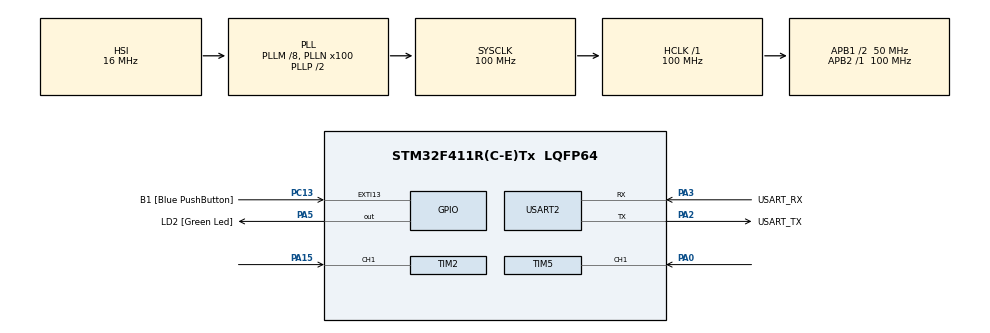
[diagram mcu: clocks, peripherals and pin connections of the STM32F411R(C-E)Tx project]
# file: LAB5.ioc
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Mcu.Family=STM32F4
Dma.TIM2_CH1.0.MemInc=DMA_MINC_ENABLE
VP_TIM5_VS_ClockSourceINT.Mode=Internal
RCC.CortexFreq_Value=100000000
TIM2.Channel-Input_Capture1_from_TI1=TIM_CHANNEL_1
PA14.GPIO_Label=TCK
Dma.TIM2_CH1.0.Instance=DMA1_Stream5
RCC.SYSCLKSource=RCC_SYSCLKSOURCE_PLLCLK
ProjectManager.StackSize=0x400
PH0\ -\ OSC_IN.Signal=RCC_OSC_IN
NVIC.TIM5_IRQn=true\:0\:0\:false\:false\:true\:true\:true
RCC.RCC_RTC_Clock_Source=RCC_RTCCLKSOURCE_LSI
RCC.HCLKFreq_Value=100000000
RCC.APB2TimFreq_Value=100000000
RCC.AHBFreq_Value=100000000
RCC.HSE_VALUE=8000000
PC13-ANTI_TAMP.Signal=GPXTI13
PC14-OSC32_IN.Mode=LSE-External-Oscillator
PA14.Mode=Serial_Wire
NVIC.TIM2_IRQn=true\:0\:0\:false\:false\:true\:true\:true
TIM5.Channel-Input_Capture1_from_TI1=TIM_CHANNEL_1
RCC.FLatency-AdvancedSettings=FLASH_LATENCY_3
Mcu.Package=LQFP64
TIM2.Prescaler=99
Dma.TIM2_CH1.0.FIFOMode=DMA_FIFOMODE_DISABLE
USART2.VirtualMode=VM_ASYNC
PA2.GPIO_Label=USART_TX
PA15.Signal=S_TIM2_CH1_ETR
Dma.TIM2_CH1.0.PeriphDataAlignment=DMA_PDATAALIGN_WORD
RCC.APB1TimFreq_Value=100000000
SH.S_TIM5_CH1.0=TIM5_CH1,Input_Capture1_from_TI1
Dma.Request0=TIM2_CH1
Dma.TIM2_CH1.0.Direction=DMA_PERIPH_TO_MEMORY
PA3.Signal=USART2_RX
PB3.GPIO_Label=SWO
PC15-OSC32_OUT.Mode=LSE-External-Oscillator
PC13-ANTI_TAMP.GPIO_Label=B1 [Blue PushButton]
PH1\ -\ OSC_OUT.Mode=HSE-External-Clock-Source
RCC.APB1CLKDivider=RCC_HCLK_DIV2
PC14-OSC32_IN.Signal=RCC_OSC32_IN
PA0-WKUP.Signal=S_TIM5_CH1
PA13.Signal=SYS_JTMS-SWDIO
PA3.Mode=Asynchronous
PH0\ -\ OSC_IN.Mode=HSE-External-Clock-Source
ProjectManager.TargetToolchain=STM32CubeIDE
NVIC.DMA1_Stream5_IRQn=true\:0\:0\:false\:false\:true\:false\:true
TIM2.ICFilter_CH1=4
PC15-OSC32_OUT.Signal=RCC_OSC32_OUT
PA5.Signal=GPIO_Output
PH1\ -\ OSC_OUT.Signal=RCC_OSC_OUT
board=NUCLEO-F411RE
RCC.VCOOutputFreq_Value=200000000
RCC.APB2Freq_Value=100000000
Dma.TIM2_CH1.0.Priority=DMA_PRIORITY_LOW
VP_TIM2_VS_ClockSourceINT.Mode=Internal
RCC.RCC_RTC_Clock_SourceVirtual=RCC_RTCCLKSOURCE_LSI
PA13.Mode=Serial_Wire
Mcu.Name=STM32F411R(C-E)Tx
PA13.GPIO_Label=TMS
PA2.Signal=USART2_TX
RCC.48MHZClocksFreq_Value=50000000
PB3.Signal=SYS_JTDO-SWO
RCC.SYSCLKFreq_VALUE=100000000
Dma.TIM2_CH1.0.Mode=DMA_CIRCULAR
PA5.GPIO_Label=LD2 [Green Led]
TIM5.Prescaler=99
PC13-ANTI_TAMP.GPIO_ModeDefaultEXTI=GPIO_MODE_IT_FALLING
SH.S_TIM2_CH1_ETR.0=TIM2_CH1,Input_Capture1_from_TI1
Dma.TIM2_CH1.0.MemDataAlignment=DMA_MDATAALIGN_WORD
PA14.Signal=SYS_JTCK-SWCLK
ProjectManager.HeapSize=0x200
RCC.HSI_VALUE=16000000
NVIC.PriorityGroup=NVIC_PRIORITYGROUP_0
RCC.PLLM=8
RCC.PLLN=100
PA2.Mode=Asynchronous
RCC.APB1Freq_Value=50000000
Dma.TIM2_CH1.0.PeriphInc=DMA_PINC_DISABLE
PA3.GPIO_Label=USART_RX

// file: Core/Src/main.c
/* USER CODE BEGIN Header */
/**
  ******************************************************************************
  * @file           : main.c
  * @brief          : Main program body
  ******************************************************************************
  * @attention
  *
  * <h2><center>&copy; Copyright (c) 2021 STMicroelectronics.
  * All rights reserved.</center></h2>
  *
  * This software component is licensed by ST under BSD 3-Clause license,
  * the "License"; You may not use this file except in compliance with the
  * License. You may obtain a copy of the License at:
  *                        opensource.org/licenses/BSD-3-Clause
  *
  ******************************************************************************
  */
/* USER CODE END Header */
#include "main.h"

/* USER CODE BEGIN PD */
#define CAPTURENUM 16
/* USER CODE END PD */

TIM_HandleTypeDef htim2;
TIM_HandleTypeDef htim5;
DMA_HandleTypeDef hdma_tim2_ch1;

UART_HandleTypeDef huart2;

/* USER CODE BEGIN PV */

//12 P/R , Gear reduction 1 : 64
//DMA Buffer
uint32_t capturedata[CAPTURENUM] = { 0 };
//diff time of capture data
int32_t DiffTime[CAPTURENUM-1] = { 0 };
//speed motor rpm
float speed = 0;
//Mean difftime
float MeanTime =0;
uint32_t x = 0;
uint64_t timestamp = 0;

uint64_t _micros = 0;
/* USER CODE END PV */

void SystemClock_Config(void);
static void MX_GPIO_Init(void);
static void MX_DMA_Init(void);
static void MX_USART2_UART_Init(void);
static void MX_TIM2_Init(void);
static void MX_TIM5_Init(void);
/* USER CODE BEGIN PFP */
void encoderSpeedReaderCycle();
uint64_t micros();
/* USER CODE END PFP */

int main(void)
{

  /* MCU Configuration--------------------------------------------------------*/

  /* Reset of all peripherals, Initializes the Flash interface and the Systick. */
  HAL_Init();

  /* Configure the system clock */
  SystemClock_Config();

  /* Initialize all configured peripherals */
  MX_GPIO_Init();
  MX_DMA_Init();
  MX_USART2_UART_Init();
  MX_TIM2_Init();
  MX_TIM5_Init();
  /* USER CODE BEGIN 2 */
  //start Microsec timer
  HAL_TIM_Base_Start_IT(&htim5);

  //start Input capture in DMA
  HAL_TIM_Base_Start(&htim2);
  HAL_TIM_IC_Start_DMA(&htim2, TIM_CHANNEL_1, (uint32_t*) capturedata, CAPTURENUM);

  /* USER CODE END 2 */

  /* Infinite loop */
  /* USER CODE BEGIN WHILE */
  while (1)
  {

	  if(micros()-timestamp > 100000)
	  {
	  	timestamp = micros();
	  	HAL_GPIO_TogglePin(LD2_GPIO_Port,LD2_Pin);
	  }
	  //read Time of encoder
	  encoderSpeedReaderCycle();
    /* USER CODE END WHILE */

  }
}

void SystemClock_Config(void)
{
  RCC_OscInitTypeDef RCC_OscInitStruct = {0};
  RCC_ClkInitTypeDef RCC_ClkInitStruct = {0};

  /** Configure the main internal regulator output voltage
  */
  __HAL_RCC_PWR_CLK_ENABLE();
  __HAL_PWR_VOLTAGESCALING_CONFIG(PWR_REGULATOR_VOLTAGE_SCALE1);
  /** Initializes the RCC Oscillators according to the specified parameters
  * in the RCC_OscInitTypeDef structure.
  */
  RCC_OscInitStruct.OscillatorType = RCC_OSCILLATORTYPE_HSI;
  RCC_OscInitStruct.HSIState = RCC_HSI_ON;
  RCC_OscInitStruct.HSICalibrationValue = RCC_HSICALIBRATION_DEFAULT;
  RCC_OscInitStruct.PLL.PLLState = RCC_PLL_ON;
  RCC_OscInitStruct.PLL.PLLSource = RCC_PLLSOURCE_HSI;
  RCC_OscInitStruct.PLL.PLLM = 8;
  RCC_OscInitStruct.PLL.PLLN = 100;
  RCC_OscInitStruct.PLL.PLLP = RCC_PLLP_DIV2;
  RCC_OscInitStruct.PLL.PLLQ = 4;
  if (HAL_RCC_OscConfig(&RCC_OscInitStruct) != HAL_OK)
  {
    Error_Handler();
  }
  /** Initializes the CPU, AHB and APB buses clocks
  */
  RCC_ClkInitStruct.ClockType = RCC_CLOCKTYPE_HCLK|RCC_CLOCKTYPE_SYSCLK
                              |RCC_CLOCKTYPE_PCLK1|RCC_CLOCKTYPE_PCLK2;
  RCC_ClkInitStruct.SYSCLKSource = RCC_SYSCLKSOURCE_PLLCLK;
  RCC_ClkInitStruct.AHBCLKDivider = RCC_SYSCLK_DIV1;
  RCC_ClkInitStruct.APB1CLKDivider = RCC_HCLK_DIV2;
  RCC_ClkInitStruct.APB2CLKDivider = RCC_HCLK_DIV1;

  if (HAL_RCC_ClockConfig(&RCC_ClkInitStruct, FLASH_LATENCY_3) != HAL_OK)
  {
    Error_Handler();
  }
}

static void MX_TIM2_Init(void)
{

  TIM_ClockConfigTypeDef sClockSourceConfig = {0};
  TIM_MasterConfigTypeDef sMasterConfig = {0};
  TIM_IC_InitTypeDef sConfigIC = {0};

  htim2.Instance = TIM2;
  htim2.Init.Prescaler = 99;
  htim2.Init.CounterMode = TIM_COUNTERMODE_UP;
  htim2.Init.Period = 4294967295;
  htim2.Init.ClockDivision = TIM_CLOCKDIVISION_DIV1;
  htim2.Init.AutoReloadPreload = TIM_AUTORELOAD_PRELOAD_DISABLE;
  if (HAL_TIM_Base_Init(&htim2) != HAL_OK)
  {
    Error_Handler();
  }
  sClockSourceConfig.ClockSource = TIM_CLOCKSOURCE_INTERNAL;
  if (HAL_TIM_ConfigClockSource(&htim2, &sClockSourceConfig) != HAL_OK)
  {
    Error_Handler();
  }
  if (HAL_TIM_IC_Init(&htim2) != HAL_OK)
  {
    Error_Handler();
  }
  sMasterConfig.MasterOutputTrigger = TIM_TRGO_RESET;
  sMasterConfig.MasterSlaveMode = TIM_MASTERSLAVEMODE_DISABLE;
  if (HAL_TIMEx_MasterConfigSynchronization(&htim2, &sMasterConfig) != HAL_OK)
  {
    Error_Handler();
  }
  sConfigIC.ICPolarity = TIM_INPUTCHANNELPOLARITY_RISING;
  sConfigIC.ICSelection = TIM_ICSELECTION_DIRECTTI;
  sConfigIC.ICPrescaler = TIM_ICPSC_DIV1;
  sConfigIC.ICFilter = 4;
  if (HAL_TIM_IC_ConfigChannel(&htim2, &sConfigIC, TIM_CHANNEL_1) != HAL_OK)
  {
    Error_Handler();
  }

}

static void MX_TIM5_Init(void)
{

  TIM_ClockConfigTypeDef sClockSourceConfig = {0};
  TIM_MasterConfigTypeDef sMasterConfig = {0};
  TIM_IC_InitTypeDef sConfigIC = {0};

  htim5.Instance = TIM5;
  htim5.Init.Prescaler = 99;
  htim5.Init.CounterMode = TIM_COUNTERMODE_UP;
  htim5.Init.Period = 4294967295;
  htim5.Init.ClockDivision = TIM_CLOCKDIVISION_DIV1;
  htim5.Init.AutoReloadPreload = TIM_AUTORELOAD_PRELOAD_DISABLE;
  if (HAL_TIM_Base_Init(&htim5) != HAL_OK)
  {
    Error_Handler();
  }
  sClockSourceConfig.ClockSource = TIM_CLOCKSOURCE_INTERNAL;
  if (HAL_TIM_ConfigClockSource(&htim5, &sClockSourceConfig) != HAL_OK)
  {
    Error_Handler();
  }
  if (HAL_TIM_IC_Init(&htim5) != HAL_OK)
  {
    Error_Handler();
  }
  sMasterConfig.MasterOutputTrigger = TIM_TRGO_RESET;
  sMasterConfig.MasterSlaveMode = TIM_MASTERSLAVEMODE_DISABLE;
  if (HAL_TIMEx_MasterConfigSynchronization(&htim5, &sMasterConfig) != HAL_OK)
  {
    Error_Handler();
  }
  sConfigIC.ICPolarity = TIM_INPUTCHANNELPOLARITY_RISING;
  sConfigIC.ICSelection = TIM_ICSELECTION_DIRECTTI;
  sConfigIC.ICPrescaler = TIM_ICPSC_DIV1;
  sConfigIC.ICFilter = 0;
  if (HAL_TIM_IC_ConfigChannel(&htim5, &sConfigIC, TIM_CHANNEL_1) != HAL_OK)
  {
    Error_Handler();
  }

}

static void MX_USART2_UART_Init(void)
{

  huart2.Instance = USART2;
  huart2.Init.BaudRate = 115200;
  huart2.Init.WordLength = UART_WORDLENGTH_8B;
  huart2.Init.StopBits = UART_STOPBITS_1;
  huart2.Init.Parity = UART_PARITY_NONE;
  huart2.Init.Mode = UART_MODE_TX_RX;
  huart2.Init.HwFlowCtl = UART_HWCONTROL_NONE;
  huart2.Init.OverSampling = UART_OVERSAMPLING_16;
  if (HAL_UART_Init(&huart2) != HAL_OK)
  {
    Error_Handler();
  }

}

static void MX_DMA_Init(void)
{

  /* DMA controller clock enable */
  __HAL_RCC_DMA1_CLK_ENABLE();

  /* DMA interrupt init */
  /* DMA1_Stream5_IRQn interrupt configuration */
  HAL_NVIC_SetPriority(DMA1_Stream5_IRQn, 0, 0);
  HAL_NVIC_EnableIRQ(DMA1_Stream5_IRQn);

}

static void MX_GPIO_Init(void)
{
  GPIO_InitTypeDef GPIO_InitStruct = {0};

  /* GPIO Ports Clock Enable */
  __HAL_RCC_GPIOC_CLK_ENABLE();
  __HAL_RCC_GPIOH_CLK_ENABLE();
  __HAL_RCC_GPIOA_CLK_ENABLE();
  __HAL_RCC_GPIOB_CLK_ENABLE();

  /*Configure GPIO pin Output Level */
  HAL_GPIO_WritePin(LD2_GPIO_Port, LD2_Pin, GPIO_PIN_RESET);

  /*Configure GPIO pin : B1_Pin */
  GPIO_InitStruct.Pin = B1_Pin;
  GPIO_InitStruct.Mode = GPIO_MODE_IT_FALLING;
  GPIO_InitStruct.Pull = GPIO_NOPULL;
  HAL_GPIO_Init(B1_GPIO_Port, &GPIO_InitStruct);

  /*Configure GPIO pin : LD2_Pin */
  GPIO_InitStruct.Pin = LD2_Pin;
  GPIO_InitStruct.Mode = GPIO_MODE_OUTPUT_PP;
  GPIO_InitStruct.Pull = GPIO_NOPULL;
  GPIO_InitStruct.Speed = GPIO_SPEED_FREQ_LOW;
  HAL_GPIO_Init(LD2_GPIO_Port, &GPIO_InitStruct);

}

/* USER CODE BEGIN 4 */
//interrupt
void HAL_TIM_PeriodElapsedCallback(TIM_HandleTypeDef *htim)
{
	if(htim == &htim5)
	{
		_micros += 4294967295;
	}
}

void encoderSpeedReaderCycle()
{
	//get DMA Position form number of data
	uint32_t CapPos = CAPTURENUM -  __HAL_DMA_GET_COUNTER(htim2.hdma[TIM_DMA_ID_CC1]);
	uint32_t sum = 0 ;

	//calculate diff from all buffer
	for(register int i=0 ;i < CAPTURENUM-1;i++)
	{
		DiffTime[i]  = capturedata[(CapPos+1+i)%CAPTURENUM] - capturedata[(CapPos+i)%CAPTURENUM];
		//Sum all 15 Diff
		sum += DiffTime[i];
	}

	//mean all 15 Diff
	MeanTime =sum / (float)(CAPTURENUM-1);
	speed = (60*1000000)/(MeanTime * 12 * 64);
}
uint64_t micros()
{
	return (_micros + htim5.Instance->CNT);//counter of Timer 5
}
/* USER CODE END 4 */

void Error_Handler(void)
{
  __disable_irq();
  while (1)
  {
  }
}

/************************ (C) COPYRIGHT STMicroelectronics *****END OF FILE****/
